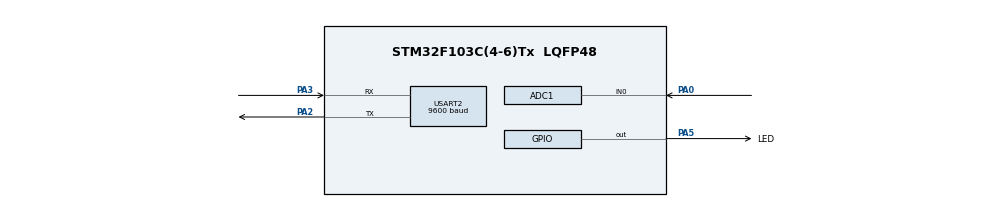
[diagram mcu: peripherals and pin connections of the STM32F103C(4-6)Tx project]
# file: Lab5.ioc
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ADC1.Channel-0\#ChannelRegularConversion=ADC_CHANNEL_0
ADC1.ContinuousConvMode=ENABLE
ADC1.NbrOfConversionFlag=1
ADC1.Rank-0\#ChannelRegularConversion=1
ADC1.SamplingTime-0\#ChannelRegularConversion=ADC_SAMPLETIME_1CYCLE_5
ADC1.master=1
Mcu.Family=STM32F1
Mcu.Name=STM32F103C(4-6)Tx
Mcu.Package=LQFP48
NVIC.PriorityGroup=NVIC_PRIORITYGROUP_4
NVIC.TIM2_IRQn=true\:0\:0\:false\:false\:true\:true\:true
NVIC.USART2_IRQn=true\:0\:0\:false\:false\:true\:true\:true
PA0-WKUP.Signal=ADCx_IN0
PA2.Mode=Asynchronous
PA2.Signal=USART2_TX
PA3.Mode=Asynchronous
PA3.Signal=USART2_RX
PA5.GPIO_Label=LED
PA5.Signal=GPIO_Output
ProjectManager.HeapSize=0x200
ProjectManager.StackSize=0x400
ProjectManager.TargetToolchain=STM32CubeIDE
RCC.APB1Freq_Value=8000000
RCC.APB2Freq_Value=8000000
SH.ADCx_IN0.0=ADC1_IN0,IN0
TIM2.Period=9
TIM2.Prescaler=7999
USART2.BaudRate=9600
USART2.VirtualMode=VM_ASYNC
VP_SYS_VS_ND.Mode=No_Debug
VP_TIM2_VS_ClockSourceINT.Mode=Internal
board=custom

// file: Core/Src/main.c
/* USER CODE BEGIN Header */
/**
  ******************************************************************************
  * @file           : main.c
  * @brief          : Main program body
  ******************************************************************************
  * @attention
  *
  * <h2><center>&copy; Copyright (c) 2023 STMicroelectronics.
  * All rights reserved.</center></h2>
  *
  * This software component is licensed by ST under BSD 3-Clause license,
  * the "License"; You may not use this file except in compliance with the
  * License. You may obtain a copy of the License at:
  *                        opensource.org/licenses/BSD-3-Clause
  *
  ******************************************************************************
  */
/* USER CODE END Header */
#include "main.h"
#include "softwareTimer.h"
#include "stdio.h"
#include "string.h"

/* USER CODE BEGIN PD */
#define IDLING 0
#define PRINTING 1
#define RECEIVING 2
#define MAX_BUFFER_SIZE 30
/* USER CODE END PD */

ADC_HandleTypeDef hadc1;

TIM_HandleTypeDef htim2;

UART_HandleTypeDef huart2;

void SystemClock_Config(void);
static void MX_GPIO_Init(void);
static void MX_ADC1_Init(void);
static void MX_USART2_UART_Init(void);
static void MX_TIM2_Init(void);

/* USER CODE BEGIN 0 */
uint8_t temp=0;
uint8_t buffer[MAX_BUFFER_SIZE];
uint8_t index_buffer = 0;
uint8_t buffer_flag = 0;

void HAL_UART_RxCpltCallback(UART_HandleTypeDef *huart){
	if(huart->Instance == USART2){
		HAL_UART_Transmit(&huart2, &temp, 1, 50);
		buffer[index_buffer++] = temp;
		if(index_buffer == 30) index_buffer = 0;

		buffer_flag = 1;
		HAL_UART_Receive_IT(&huart2, &temp, 1);
	}
}

uint8_t command_flag = 0,
		command_data[30],
		command_parser_state = IDLING;
char str[40];

void clear_buffer(){
	memset(buffer, 0, sizeof(buffer));
	index_buffer = 0;
}

void command_parser_fsm(){
	switch(command_parser_state){
		case IDLING:
			if(temp=='!'){
				clear_buffer();
				command_parser_state = RECEIVING;
			}
			clear_buffer();
			break;
		case RECEIVING:
			if(index_buffer == 0){
				command_parser_state = IDLING;
			}else if(temp == '#'){
				memcpy(command_data, buffer, sizeof(command_data));
				command_flag = 1;
				command_parser_state = IDLING;
				HAL_UART_Transmit(&huart2, (void*)str, sprintf(str, "\r\n"), 50);
			}else if(temp == '!'){
				clear_buffer();
			}
			break;
	}
}

uint32_t ADC_value = 0;
uint8_t uart_communication_state = IDLING,
		command_ok[3] = {'O','K','#'},
		command_rst[4] = {'R','S','T','#'},
		comparer[30];

void uart_communiation_fsm(){
	switch(uart_communication_state){
		case IDLING:
			if(command_flag){
				command_flag = 0;

				//Compare to !RST#
				memset(comparer, 0, sizeof(comparer));
				memcpy(comparer, command_rst, sizeof(command_rst));

				if(memcmp(command_data, comparer, sizeof(command_data)) == 0){
					HAL_UART_Transmit(&huart2, (void *)str, sprintf(str, "\r\nCommand evaluated to !RST#\r\n"), 300);
					setTimer(51, 2);
					HAL_ADC_Start(&hadc1);
					ADC_value = HAL_ADC_GetValue(&hadc1);
					HAL_ADC_Stop(&hadc1);
					uart_communication_state = PRINTING;
				}else
				HAL_UART_Transmit(&huart2, (void *)str, sprintf(str, "\r\nCommand not evaluated to !RST#\r\n"), 300);
			}
			break;
		case PRINTING:
			if(command_flag){
				command_flag = 0;

				//Compare to !OK#
				memset(comparer, 0, sizeof(comparer));
				memcpy(comparer, command_ok, sizeof(command_rst));

				if(memcmp(command_data, comparer, sizeof(command_data))==0){
					HAL_UART_Transmit(&huart2, (void *)str, sprintf(str, "Command evaluated to !OK#\r\n"), 300);
					uart_communication_state = IDLING;
					break;
				}
				else HAL_UART_Transmit(&huart2, (void *)str, sprintf(str, "Command not evaluated to !OK#\r\n"), 300);
			}
			if(timerFlag[2] == 1){
				HAL_GPIO_TogglePin(LED_GPIO_Port, LED_Pin);
				setTimer(3000, 2);
				HAL_UART_Transmit(&huart2, (void *)str, sprintf(str, "\r\n!ADC=%d#\r\n", ADC_value), 200);
			}
			break;
	}
}
/* USER CODE END 0 */

int main(void)
{

  /* MCU Configuration--------------------------------------------------------*/

  /* Reset of all peripherals, Initializes the Flash interface and the Systick. */
  HAL_Init();

  /* Configure the system clock */
  SystemClock_Config();

  /* Initialize all configured peripherals */
  MX_GPIO_Init();
  MX_ADC1_Init();
  MX_USART2_UART_Init();
  MX_TIM2_Init();
  /* USER CODE BEGIN 2 */
  HAL_UART_Receive_IT(&huart2, &temp, 1);
  HAL_TIM_Base_Start_IT(&htim2);
  /* USER CODE END 2 */

  /* Infinite loop */
  /* USER CODE BEGIN WHILE */
  initTimer();
  setTimer(21, 0);
  setTimer(31, 1);
  setTimer(51, 3);
  while (1)
  {
	  if(timerFlag[0] == 1){
		  HAL_GPIO_TogglePin(LED_GPIO_Port, LED_Pin);
		  setTimer(500, 0);
	  }
	  if(timerFlag[1] == 1){
		  if(buffer_flag == 1){
			  buffer_flag = 0;
			  command_parser_fsm();
		  }
		  setTimer(50, 1);
	  }
	  if(timerFlag[3] == 1){
		  setTimer(100, 3);
		  uart_communiation_fsm();
	  }
    /* USER CODE END WHILE */

  }
}

void SystemClock_Config(void)
{
  RCC_OscInitTypeDef RCC_OscInitStruct = {0};
  RCC_ClkInitTypeDef RCC_ClkInitStruct = {0};
  RCC_PeriphCLKInitTypeDef PeriphClkInit = {0};

  /** Initializes the RCC Oscillators according to the specified parameters
  * in the RCC_OscInitTypeDef structure.
  */
  RCC_OscInitStruct.OscillatorType = RCC_OSCILLATORTYPE_HSI;
  RCC_OscInitStruct.HSIState = RCC_HSI_ON;
  RCC_OscInitStruct.HSICalibrationValue = RCC_HSICALIBRATION_DEFAULT;
  RCC_OscInitStruct.PLL.PLLState = RCC_PLL_NONE;
  if (HAL_RCC_OscConfig(&RCC_OscInitStruct) != HAL_OK)
  {
    Error_Handler();
  }
  /** Initializes the CPU, AHB and APB buses clocks
  */
  RCC_ClkInitStruct.ClockType = RCC_CLOCKTYPE_HCLK|RCC_CLOCKTYPE_SYSCLK
                              |RCC_CLOCKTYPE_PCLK1|RCC_CLOCKTYPE_PCLK2;
  RCC_ClkInitStruct.SYSCLKSource = RCC_SYSCLKSOURCE_HSI;
  RCC_ClkInitStruct.AHBCLKDivider = RCC_SYSCLK_DIV1;
  RCC_ClkInitStruct.APB1CLKDivider = RCC_HCLK_DIV1;
  RCC_ClkInitStruct.APB2CLKDivider = RCC_HCLK_DIV1;

  if (HAL_RCC_ClockConfig(&RCC_ClkInitStruct, FLASH_LATENCY_0) != HAL_OK)
  {
    Error_Handler();
  }
  PeriphClkInit.PeriphClockSelection = RCC_PERIPHCLK_ADC;
  PeriphClkInit.AdcClockSelection = RCC_ADCPCLK2_DIV2;
  if (HAL_RCCEx_PeriphCLKConfig(&PeriphClkInit) != HAL_OK)
  {
    Error_Handler();
  }
}

static void MX_ADC1_Init(void)
{

  ADC_ChannelConfTypeDef sConfig = {0};

  /** Common config
  */
  hadc1.Instance = ADC1;
  hadc1.Init.ScanConvMode = ADC_SCAN_DISABLE;
  hadc1.Init.ContinuousConvMode = ENABLE;
  hadc1.Init.DiscontinuousConvMode = DISABLE;
  hadc1.Init.ExternalTrigConv = ADC_SOFTWARE_START;
  hadc1.Init.DataAlign = ADC_DATAALIGN_RIGHT;
  hadc1.Init.NbrOfConversion = 1;
  if (HAL_ADC_Init(&hadc1) != HAL_OK)
  {
    Error_Handler();
  }
  /** Configure Regular Channel
  */
  sConfig.Channel = ADC_CHANNEL_0;
  sConfig.Rank = ADC_REGULAR_RANK_1;
  sConfig.SamplingTime = ADC_SAMPLETIME_1CYCLE_5;
  if (HAL_ADC_ConfigChannel(&hadc1, &sConfig) != HAL_OK)
  {
    Error_Handler();
  }

}

static void MX_TIM2_Init(void)
{

  TIM_ClockConfigTypeDef sClockSourceConfig = {0};
  TIM_MasterConfigTypeDef sMasterConfig = {0};

  htim2.Instance = TIM2;
  htim2.Init.Prescaler = 7999;
  htim2.Init.CounterMode = TIM_COUNTERMODE_UP;
  htim2.Init.Period = 9;
  htim2.Init.ClockDivision = TIM_CLOCKDIVISION_DIV1;
  htim2.Init.AutoReloadPreload = TIM_AUTORELOAD_PRELOAD_DISABLE;
  if (HAL_TIM_Base_Init(&htim2) != HAL_OK)
  {
    Error_Handler();
  }
  sClockSourceConfig.ClockSource = TIM_CLOCKSOURCE_INTERNAL;
  if (HAL_TIM_ConfigClockSource(&htim2, &sClockSourceConfig) != HAL_OK)
  {
    Error_Handler();
  }
  sMasterConfig.MasterOutputTrigger = TIM_TRGO_RESET;
  sMasterConfig.MasterSlaveMode = TIM_MASTERSLAVEMODE_DISABLE;
  if (HAL_TIMEx_MasterConfigSynchronization(&htim2, &sMasterConfig) != HAL_OK)
  {
    Error_Handler();
  }

}

static void MX_USART2_UART_Init(void)
{

  huart2.Instance = USART2;
  huart2.Init.BaudRate = 9600;
  huart2.Init.WordLength = UART_WORDLENGTH_8B;
  huart2.Init.StopBits = UART_STOPBITS_1;
  huart2.Init.Parity = UART_PARITY_NONE;
  huart2.Init.Mode = UART_MODE_TX_RX;
  huart2.Init.HwFlowCtl = UART_HWCONTROL_NONE;
  huart2.Init.OverSampling = UART_OVERSAMPLING_16;
  if (HAL_UART_Init(&huart2) != HAL_OK)
  {
    Error_Handler();
  }

}

static void MX_GPIO_Init(void)
{
  GPIO_InitTypeDef GPIO_InitStruct = {0};

  /* GPIO Ports Clock Enable */
  __HAL_RCC_GPIOA_CLK_ENABLE();

  /*Configure GPIO pin Output Level */
  HAL_GPIO_WritePin(LED_GPIO_Port, LED_Pin, GPIO_PIN_RESET);

  /*Configure GPIO pin : LED_Pin */
  GPIO_InitStruct.Pin = LED_Pin;
  GPIO_InitStruct.Mode = GPIO_MODE_OUTPUT_PP;
  GPIO_InitStruct.Pull = GPIO_NOPULL;
  GPIO_InitStruct.Speed = GPIO_SPEED_FREQ_LOW;
  HAL_GPIO_Init(LED_GPIO_Port, &GPIO_InitStruct);

}

/* USER CODE BEGIN 4 */
void HAL_TIM_PeriodElapsedCallback ( TIM_HandleTypeDef * htim )
{
	timerRun();
}
/* USER CODE END 4 */

void Error_Handler(void)
{
  __disable_irq();
  while (1)
  {
  }
}

/************************ (C) COPYRIGHT STMicroelectronics *****END OF FILE****/
